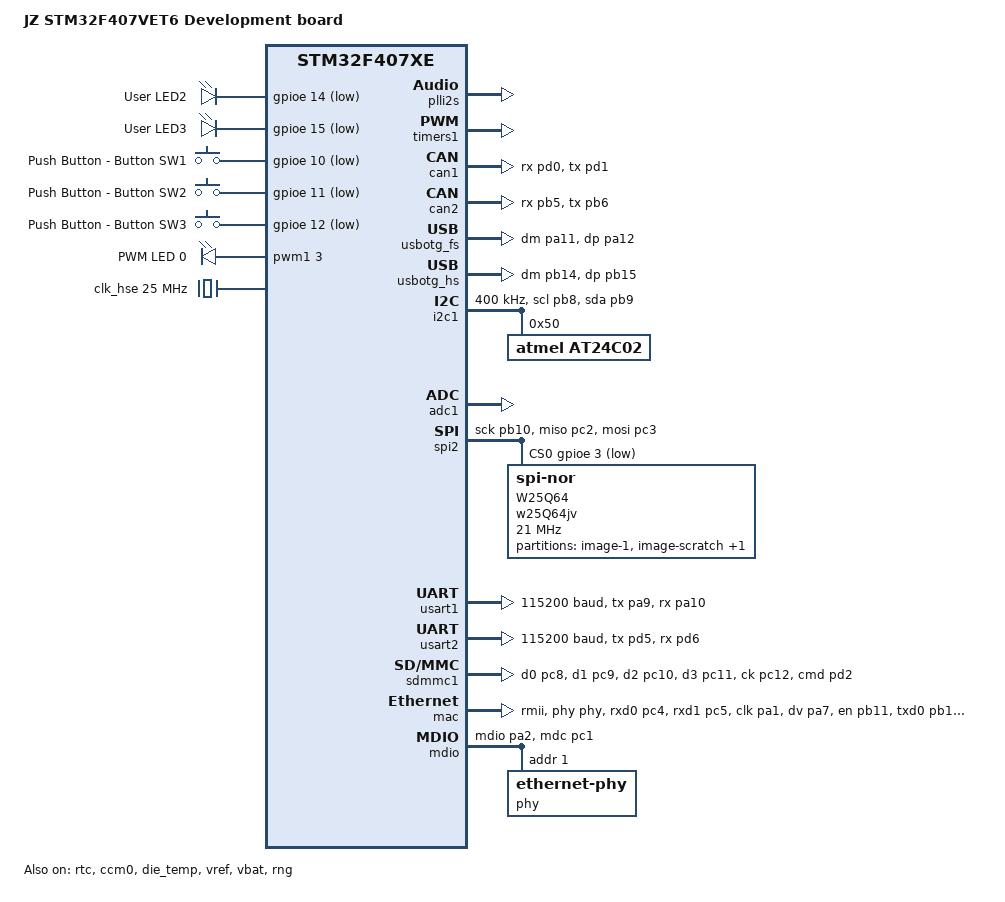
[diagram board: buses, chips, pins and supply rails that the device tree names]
/*
 * Copyright (c) 2025 HU Inc.
 *
 * SPDX-License-Identifier: Apache-2.0
 */

/dts-v1/;

#include <st/f4/stm32f407Xe.dtsi>
#include <st/f4/stm32f407v(e-g)tx-pinctrl.dtsi>
#include <zephyr/dt-bindings/input/input-event-codes.h>
#include <zephyr/dt-bindings/pwm/pwm.h>
#include <zephyr/dt-bindings/timer/stm32-timer.h>

/ {
	model = "JZ STM32F407VET6 Development board";
	compatible = "jz,f407vet6";

	chosen {
		zephyr,console = &usart1;
		zephyr,shell-uart = &usart1;
		zephyr,sram = &sram0;
		zephyr,flash = &flash0;
		zephyr,flash-controller = &flash0;
		zephyr,dtcm = &ccm0;
		zephyr,canbus = &can1;
		zephyr,code-partition = &slot0_partition;
	};

	leds {
		compatible = "gpio-leds";
		red_led_1: led_1 {
			gpios = <&gpioe 14 GPIO_ACTIVE_LOW>;
			label = "User LED2";
		};
		red_led_2: led_2 {
			gpios = <&gpioe 15 GPIO_ACTIVE_LOW>;
			label = "User LED3";
		};
	};

	gpio_keys {
		compatible = "gpio-keys";
		button0: button_0 {
			label = "Push Button - Button SW1";
			gpios = <&gpioe 10 GPIO_ACTIVE_LOW>;
			zephyr,code = <INPUT_BTN_0>;
		};
		button1: button_1 {
			label = "Push Button - Button SW2";
			gpios = <&gpioe 11 GPIO_ACTIVE_LOW>;
			zephyr,code = <INPUT_BTN_1>;
		};
		button2: button_2 {
			label = "Push Button - Button SW3";
			gpios = <&gpioe 12 GPIO_ACTIVE_LOW>;
			zephyr,code = <INPUT_BTN_2>;
		};
	};

	pwmleds {
		compatible = "pwm-leds";
		status = "okay";

		pwm_led_0: pwm_led_0 {
			status = "okay";
			pwms = <&pwm1 3 PWM_MSEC(2000) PWM_POLARITY_NORMAL>;
			label = "PWM LED 0";
		};
	};

	aliases {
		rtc = &rtc;
		bbram = &bbram;
		led0 = &red_led_1;
		led1 = &red_led_2;
		sw0 = &button0;
		btn0 = &button0;
		btn1 = &button1;
		btn2 = &button2;
		pwm-led0 = &pwm_led_0;
		die-temp0 = &die_temp;
		volt-sensor0 = &vref;
		volt-sensor1 = &vbat;
	};
};

&clk_lse {
	status = "okay";
};

&clk_hse {
	clock-frequency = <DT_FREQ_M(25)>;
	status = "okay";
};

&pll {
	div-m = <25>;
	mul-n = <336>;
	div-p = <2>;
	div-q = <7>;
	clocks = <&clk_hse>;
	status = "okay";
};

&rcc {
	clocks = <&pll>;
	clock-frequency = <DT_FREQ_M(168)>;
	ahb-prescaler = <1>;
	apb1-prescaler = <4>;
	apb2-prescaler = <2>;
	status = "okay";
};

&plli2s {
	mul-n = <192>;
	div-r = <2>;
	status = "okay";
};

&rtc {
	clocks = <&rcc STM32_CLOCK(APB1, 28)>,
		<&rcc STM32_SRC_LSE RTC_SEL(1)>;
	status = "okay";

	backup_regs {
		status = "okay";
	};
};

&bbram {
	status = "okay";
};

&ccm0 {
	status = "okay";
};

&backup_sram {
	status = "okay";
};

&timers1 {
	status = "okay";
	st,prescaler = <16799>;	/* 10kHz *//* 33599 - 5kHz: 168MHz */
	st,countermode = <0x10>; /* downcounter */
	
	pwm1: pwm {
		status = "okay";
		pinctrl-0 = <&tim1_ch3_pe13>;
		pinctrl-names = "default";
	};
};

&can1 {
	pinctrl-0 = <&can1_rx_pd0 &can1_tx_pd1>;
	pinctrl-names = "default";
	status = "okay";
};

&can2 {
	pinctrl-0 = <&can2_rx_pb5 &can2_tx_pb6>;
	pinctrl-names = "default";
	status = "okay";
};

usb_otg1: &usbotg_fs {
	pinctrl-0 = <&usb_otg_fs_dm_pa11 &usb_otg_fs_dp_pa12>;
	pinctrl-names = "default";
	status = "okay";
};

zephyr_udc0: &usbotg_hs {
	pinctrl-0 = <&usb_otg_hs_dm_pb14 &usb_otg_hs_dp_pb15>;
	pinctrl-names = "default";
	status = "okay";
};

&i2c1 {
	clock-frequency = <I2C_BITRATE_FAST>;
	pinctrl-0 = <&i2c1_scl_pb8 &i2c1_sda_pb9>;
	pinctrl-names = "default";
	status = "okay";
	// https://github.com/art103/JZ-F407VET6
	at24c02: eeprom@50 {
		compatible = "atmel,at24c02", "atmel,at24";
		reg = <0x50>;
		status = "okay";
		size = <256>;
		pagesize = <8>;
		address-width = <8>;
		timeout = <5>;
	};
};

&adc1 {
	st,adc-prescaler = <4>;
	status = "okay";
};


&flash0 {
	partitions {
		compatible = "fixed-partitions";
		#address-cells = <1>;
		#size-cells = <1>;
		status = "okay";

		boot_partition: partition@0 {
			label = "mcuboot";
			reg = <0x00000000 DT_SIZE_K(64)>;
		};

		slot0_partition: partition@10000 {
			label = "image-0";
			reg = <0x00010000 DT_SIZE_K(448)>;
		};
	};
};

&spi2 {
	pinctrl-0 = <&spi2_sck_pb10 &spi2_miso_pc2 &spi2_mosi_pc3>;
	pinctrl-names = "default";
	cs-gpios = <&gpioe 3 (GPIO_ACTIVE_LOW | GPIO_PULL_UP)>;
	status = "okay";
	// https://github.com/art103/JZ-F407VET6
	w25q64: w25Q64jv@0 {
		compatible = "jedec,spi-nor";
		reg = <0>;
		spi-max-frequency = <21000000>;
		label = "W25Q64";
		jedec-id = [ef 40 17];
		size = <DT_SIZE_M(64)>;
		status = "okay";

		partitions {
			compatible = "fixed-partitions";
			#address-cells = <1>;
			#size-cells = <1>;
			status = "okay";

			slot1_partition: partition@0 {
				label = "image-1";
				reg = <0x00000000 DT_SIZE_K(448)>;
			};
			scratch_partition: partition@80000 {
				label = "image-scratch";
				reg = <0x00100000 DT_SIZE_K(448)>;
			};
			storage_partition: partition@100000 {
				label = "storage";
				reg = <0x00200000 DT_SIZE_M(1)>;
			};
		};
	};
};

&usart1 {
	pinctrl-0 = <&usart1_tx_pa9 &usart1_rx_pa10>;
	pinctrl-names = "default";
	current-speed = <115200>;
	status = "okay";
};

&usart2 {
	pinctrl-0 = <&usart2_tx_pd5 &usart2_rx_pd6>;
	pinctrl-names = "default";
	current-speed = <115200>;
	status = "okay";
};

&sdmmc1 {
	pinctrl-0 = <
		&sdio_d0_pc8
		&sdio_d1_pc9
		&sdio_d2_pc10
		&sdio_d3_pc11
		&sdio_ck_pc12
		&sdio_cmd_pd2
	>;
	pinctrl-names = "default";
	cd-gpios = <&gpiod 3 GPIO_ACTIVE_LOW>;
	disk-name = "SD";
	status = "okay";
};

&dma1 {
	status = "okay";
};

&dma2 {
	status = "okay";
};

&mac {
	pinctrl-0 = <
		&eth_rxd0_pc4
		&eth_rxd1_pc5
		&eth_ref_clk_pa1
		&eth_crs_dv_pa7
		&eth_tx_en_pb11
		&eth_txd0_pb12
		&eth_txd1_pb13
	>;
	pinctrl-names = "default";
	phy-connection-type = "rmii";
	phy-handle = <&phy>;
	status = "okay";
};

&mdio {
	status = "okay";

	pinctrl-0 = <&eth_mdio_pa2 &eth_mdc_pc1>;
	pinctrl-names = "default";

	phy: ethernet-phy@1 {
		status = "okay";
		compatible = "ethernet-phy";
		reg = <0x01>;
	};
};

&die_temp {
	status = "okay";
};

&vref {
	status = "okay";
};

&vbat {
	status = "okay";
};

&rng {
	status = "okay";
};
